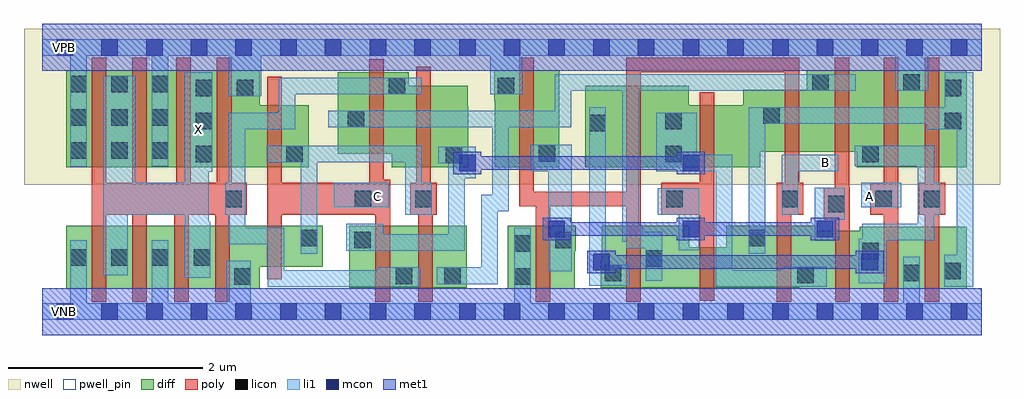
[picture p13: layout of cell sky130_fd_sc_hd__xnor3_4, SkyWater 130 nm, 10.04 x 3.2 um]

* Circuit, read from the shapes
.subckt sky130_fd_sc_hd__xnor3_4 A B C VGND VPB VPWR X
XM1 X n1 VGND VSUBS sky130_fd_pr__nfet_01v8 w=0.65 l=0.15 m=4
XM2 n2 C VGND VSUBS sky130_fd_pr__nfet_01v8 w=0.42 l=0.15
XM3 n1 C n3 VSUBS sky130_fd_pr__nfet_01v8 w=0.64 l=0.15
XM4 n4 n2 n1 VSUBS sky130_fd_pr__nfet_01v8 w=0.64 l=0.15
XM5 n5 B VGND VSUBS sky130_fd_pr__nfet_01v8 w=0.65 l=0.15
XM6 n4 B n6 VSUBS sky130_fd_pr__nfet_01v8 w=0.64 l=0.15
XM7 n7 n5 n4 VSUBS sky130_fd_pr__nfet_01v8 w=0.42 l=0.15
XM8 n3 B n7 VSUBS sky130_fd_pr__nfet_01v8 w=0.64 l=0.15
XM9 n6 n5 n3 VSUBS sky130_fd_pr__nfet_01v8 w=0.6 l=0.15
XM10 VGND A n6 VSUBS sky130_fd_pr__nfet_01v8 w=0.64 l=0.15
XM11 n7 n6 VGND VSUBS sky130_fd_pr__nfet_01v8 w=0.64 l=0.15
XM12 X n1 VPWR VPB sky130_fd_pr__pfet_01v8 w=1 l=0.15 m=4
XM13 n2 C VPWR VPB sky130_fd_pr__pfet_01v8 w=0.64 l=0.15
XM14 n1 C n4 VPB sky130_fd_pr__pfet_01v8 w=0.84 l=0.15
XM15 n3 n2 n1 VPB sky130_fd_pr__pfet_01v8 w=0.84 l=0.15
XM16 n5 B VPWR VPB sky130_fd_pr__pfet_01v8 w=1 l=0.15
XM17 n3 B n6 VPB sky130_fd_pr__pfet_01v8 w=0.84 l=0.15
XM18 n7 n5 n3 VPB sky130_fd_pr__pfet_01v8 w=0.64 l=0.15
XM19 n4 B n7 VPB sky130_fd_pr__pfet_01v8 w=0.64 l=0.15
XM20 n6 n5 n4 VPB sky130_fd_pr__pfet_01v8 w=0.84 l=0.15
XM21 VPWR A n6 VPB sky130_fd_pr__pfet_01v8 w=1 l=0.15
XM22 n7 n6 VPWR VPB sky130_fd_pr__pfet_01v8 w=1 l=0.15
.ends

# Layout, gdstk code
import gdstk
lib = gdstk.Library(unit=1e-6, precision=1e-09)
def R(c, l, rs):  # rectangles x0, y0, x1, y1
    for r in rs: c.add(gdstk.rectangle(r[:2], r[2:], *l))
def A(c, l, x, y, w, h, nx, ny, dx, dy):  # array of equal rectangles
    R(c, l, [(x+i*dx, y+j*dy, x+i*dx+w, y+j*dy+h) for i in range(nx) for j in range(ny)])
def P(c, l, *ps):  # polygons
    for p in ps: c.add(gdstk.Polygon(p, *l))
nwell = (64, 20)
diff = (65, 20)
poly = (66, 20)
licon = (66, 44)
li1 = (67, 20)
mcon = (67, 44)
met1 = (68, 20)
pwell_pin = (122, 16)

sky130_fd_sc_hd__xnor3_4 = lib.new_cell('sky130_fd_sc_hd__xnor3_4')
R(sky130_fd_sc_hd__xnor3_4, nwell, [(-0.19,1.305,9.85,2.91)])
R(sky130_fd_sc_hd__xnor3_4, diff, [(3.155,0.245,4.365,0.885)])
P(sky130_fd_sc_hd__xnor3_4, diff, [(2.74,2.125),(2.235,2.125),(2.235,2.485),(0.245,2.485),(0.245,1.485),(2.74,1.485)],
  [(2.885,0.885),(0.245,0.885),(0.245,0.235),(2.235,0.235),(2.235,0.465),(2.885,0.465)],
  [(4.38,2.115),(4.375,2.115),(4.375,2.325),(3.77,2.325),(3.77,2.465),(3.035,2.465),(3.035,1.625),(3.595,1.625),(3.595,1.485),(4.38,1.485)],
  [(5.315,2.485),(4.645,2.485),(4.645,2.175),(4.65,2.175),(4.65,1.485),(5.315,1.485)],
  [(5.485,0.885),(4.785,0.885),(4.785,0.235),(5.475,0.235),(5.475,0.62),(5.485,0.62)],
  [(9.51,2.485),(7.86,2.485),(7.86,2.285),(7.21,2.285),(7.21,2.125),(6.65,2.125),(6.65,2.325),(5.585,2.325),(5.585,1.485),(7.385,1.485),(7.385,1.645),(8.375,1.645),(8.375,1.485),(9.51,1.485)],
  [(9.51,0.875),(8.405,0.875),(8.405,0.835),(7.955,0.835),(7.955,0.885),(7.035,0.885),(7.035,0.665),(6.655,0.665),(6.655,0.885),(5.755,0.885),(5.755,0.52),(5.745,0.52),(5.745,0.245),(7.79,0.245),(7.79,0.235),(9.51,0.235)])
P(sky130_fd_sc_hd__xnor3_4, poly, [(2.1,1.325),(1.945,1.325),(1.945,2.615),(1.795,2.615),(1.795,1.325),(1.525,1.325),(1.525,2.615),(1.375,2.615),(1.375,1.325),(1.075,1.325),(1.075,2.615),(0.925,2.615),(0.925,1.325),(0.655,1.325),(0.655,2.615),(0.505,2.615),(0.505,0.105),(0.655,0.105),(0.655,0.995),(0.925,0.995),(0.925,0.105),(1.075,0.105),(1.075,0.995),(1.355,0.995),(1.355,0.105),(1.505,0.105),(1.505,0.995),(1.775,0.995),(1.775,0.105),(1.925,0.105),(1.925,0.995),(2.1,0.995)],
  [(3.575,1.355),(3.51,1.355),(3.51,2.595),(3.36,2.595),(3.36,1.325),(2.46,1.325),(2.46,2.415),(2.31,2.415),(2.31,0.335),(2.46,0.335),(2.46,0.995),(3.425,0.995),(3.425,0.105),(3.575,0.105)],
  [(4.055,1.325),(3.995,1.325),(3.995,2.52),(3.845,2.52),(3.845,1.325),(3.785,1.325),(3.785,0.995),(3.865,0.995),(3.865,0.105),(4.015,0.105),(4.015,0.995),(4.055,0.995)],
  [(6.91,2.255),(6.76,2.255),(6.76,1.325),(6.365,1.325),(6.365,0.995),(6.76,0.995),(6.76,0.115),(6.91,0.115)],
  [(7.825,1.325),(7.785,1.325),(7.785,2.615),(6.005,2.615),(6.005,1.235),(5.055,1.235),(5.055,2.615),(4.905,2.615),(4.905,1.085),(5.075,1.085),(5.075,0.105),(5.225,0.105),(5.225,1.085),(6.005,1.085),(6.005,0.105),(6.155,0.105),(6.155,2.465),(7.635,2.465),(7.635,1.325),(7.555,1.325),(7.555,0.105),(7.705,0.105),(7.705,0.995),(7.825,0.995)],
  [(8.305,1.28),(8.3,1.28),(8.3,2.615),(8.15,2.615),(8.15,1.275),(8.035,1.275),(8.035,0.945),(8.155,0.945),(8.155,0.105),(8.305,0.105)],
  [(8.805,2.615),(8.655,2.615),(8.655,1.325),(8.515,1.325),(8.515,0.995),(8.655,0.995),(8.655,0.105),(8.805,0.105)],
  [(9.285,1.325),(9.225,1.325),(9.225,2.615),(9.075,2.615),(9.075,1.325),(9.015,1.325),(9.015,0.995),(9.075,0.995),(9.075,0.105),(9.225,0.105),(9.225,0.995),(9.285,0.995)])
A(sky130_fd_sc_hd__xnor3_4, licon, 0.285, 0.475, 0.17, 0.17, 3, 2, 0.42, 1.1)
A(sky130_fd_sc_hd__xnor3_4, licon, 1.575, 1.535, 0.17, 0.17, 1, 3, 0, 0.34)
A(sky130_fd_sc_hd__xnor3_4, licon, 0.285, 1.915, 0.17, 0.17, 3, 2, 0.42, 0.34)
R(sky130_fd_sc_hd__xnor3_4, licon, [(1.975,0.275,2.145,0.445), (4.855,0.275,5.025,0.445), (3.635,0.285,3.805,0.455), (4.135,0.285,4.305,0.455), (7.765,0.295,7.935,0.465), (5.785,0.315,5.955,0.485), (8.855,0.315,9.025,0.485), (9.275,0.335,9.445,0.505), (6.205,0.46,6.375,0.63), (1.555,0.475,1.725,0.645), (8.435,0.54,8.605,0.71), (4.855,0.615,5.025,0.785), (3.205,0.655,3.375,0.825), (5.275,0.655,5.445,0.825), (2.655,0.675,2.825,0.845), (7.265,0.675,7.435,0.845), (8.085,1.025,8.255,1.195), (1.88,1.075,2.05,1.245), (3.21,1.075,3.38,1.245), (3.835,1.075,4.005,1.245), (6.415,1.075,6.585,1.245), (7.605,1.075,7.775,1.245), (8.565,1.075,8.735,1.245), (9.065,1.075,9.235,1.245), (4.15,1.525,4.32,1.695), (2.51,1.535,2.68,1.705), (6.405,1.535,6.575,1.705), (8.435,1.535,8.605,1.705), (5.105,1.545,5.275,1.715), (5.625,1.855,5.795,2.025), (6.405,1.875,6.575,2.045), (9.28,1.875,9.45,2.045), (3.14,1.895,3.31,2.065), (7.415,1.935,7.585,2.105), (2,2.215,2.17,2.385), (9.28,2.215,9.45,2.385), (3.56,2.235,3.73,2.405), (4.685,2.235,4.855,2.405), (7.92,2.275,8.09,2.445), (8.855,2.275,9.025,2.445)])
R(sky130_fd_sc_hd__xnor3_4, li1, [(2.995,1.075,3.56,1.325), (8.425,1.075,8.835,1.325)])
P(sky130_fd_sc_hd__xnor3_4, li1, [(9.575,2.465),(9.28,2.465),(9.28,2.105),(7.265,2.105),(7.265,0.595),(7.435,0.595),(7.435,1.935),(9.09,1.935),(9.09,1.875),(9.405,1.875),(9.405,0.585),(9.275,0.585),(9.275,0.255),(9.575,0.255)],
  [(1.745,2.465),(1.465,2.465),(1.465,1.325),(0.955,1.325),(0.955,2.425),(0.625,2.425),(0.625,0.375),(0.875,0.375),(0.875,0.995),(1.465,0.995),(1.465,0.35),(1.725,0.35),(1.725,0.925),(1.71,0.925),(1.71,1.44),(1.745,1.44)],
  [(3.9,2.405),(2.43,2.405),(2.43,2.045),(1.915,2.045),(1.915,1.325),(1.88,1.325),(1.88,0.995),(1.91,0.995),(1.91,0.695),(2.315,0.695),(2.315,0.255),(3.885,0.255),(3.885,0.455),(3.45,0.455),(3.45,0.425),(2.485,0.425),(2.485,0.865),(2.085,0.865),(2.085,1.875),(2.6,1.875),(2.6,2.235),(3.9,2.235)],
  [(9.66,0.085),(9.025,0.085),(9.025,0.565),(8.855,0.565),(8.855,0.085),(5.025,0.085),(5.025,0.865),(4.855,0.865),(4.855,0.085),(2.145,0.085),(2.145,0.525),(1.895,0.525),(1.895,0.085),(1.295,0.085),(1.295,0.735),(1.125,0.735),(1.125,0.085),(0.455,0.085),(0.455,0.735),(0.285,0.735),(0.285,0.085),(0,0.085),(0,-0.085),(9.66,-0.085)],
  [(9.66,2.805),(0,2.805),(0,2.635),(0.285,2.635),(0.285,1.49),(0.455,1.49),(0.455,2.635),(1.125,2.635),(1.125,1.495),(1.295,1.495),(1.295,2.635),(1.915,2.635),(1.915,2.215),(2.25,2.215),(2.25,2.635),(4.605,2.635),(4.605,2.235),(4.935,2.235),(4.935,2.635),(8.775,2.635),(8.775,2.275),(9.11,2.275),(9.11,2.635),(9.66,2.635)],
  [(4.005,1.325),(3.9,1.325),(3.9,1.705),(2.315,1.705),(2.315,1.535),(2.655,1.535),(2.655,0.595),(2.825,0.595),(2.825,1.535),(3.73,1.535),(3.73,0.995),(4.005,0.995)],
  [(4.455,1.695),(4.07,1.695),(4.07,1.525),(4.175,1.525),(4.175,0.795),(3.505,0.795),(3.505,0.905),(3.125,0.905),(3.125,0.625),(4.345,0.625),(4.345,1.375),(4.455,1.375)],
  [(5.445,1.715),(5.025,1.715),(5.025,1.445),(5.205,1.445),(5.205,0.415),(5.445,0.415)],
  [(6.035,0.485),(5.835,0.485),(5.835,0.595),(5.795,0.595),(5.795,2.105),(5.625,2.105),(5.625,0.265),(6.035,0.265)],
  [(6.755,1.27),(6.33,1.27),(6.33,0.995),(6.545,0.995),(6.545,0.63),(6.755,0.63)],
  [(8.07,0.465),(7.605,0.465),(7.605,0.425),(7.095,0.425),(7.095,1.615),(6.73,1.615),(6.73,2.045),(6.315,2.045),(6.315,1.445),(6.925,1.445),(6.925,0.255),(8.07,0.255)],
  [(8.185,1.615),(7.605,1.615),(7.605,0.995),(7.775,0.995),(7.775,1.445),(8.185,1.445)],
  [(8.255,1.275),(7.945,1.275),(7.945,0.73),(8.15,0.73),(8.15,0.945),(8.255,0.945)],
  [(8.365,2.445),(5.27,2.445),(5.27,2.065),(2.94,2.065),(2.94,1.895),(4.625,1.895),(4.625,1.205),(4.515,1.205),(4.515,0.455),(4.055,0.455),(4.055,0.285),(4.685,0.285),(4.685,1.035),(4.795,1.035),(4.795,1.895),(5.44,1.895),(5.44,2.275),(5.965,2.275),(5.965,0.72),(6.005,0.72),(6.005,0.655),(6.205,0.655),(6.205,0.32),(6.375,0.32),(6.375,0.825),(6.175,0.825),(6.175,0.89),(6.135,0.89),(6.135,2.275),(8.365,2.275)],
  [(9.235,1.325),(9.175,1.325),(9.175,1.705),(8.355,1.705),(8.355,1.495),(9.005,1.495),(9.005,0.905),(8.435,0.905),(8.435,0.75),(8.395,0.75),(8.395,0.295),(8.685,0.295),(8.685,0.735),(9.175,0.735),(9.175,0.995),(9.235,0.995)])
A(sky130_fd_sc_hd__xnor3_4, mcon, 0.145, -0.085, 0.17, 0.17, 21, 2, 0.46, 2.72)
A(sky130_fd_sc_hd__xnor3_4, mcon, 5.205, 0.765, 0.17, 0.17, 3, 1, 1.38, 0)
R(sky130_fd_sc_hd__xnor3_4, mcon, [(5.665,0.425,5.835,0.595), (8.425,0.425,8.595,0.595), (4.285,1.445,4.455,1.615), (6.585,1.445,6.755,1.615)])
P(sky130_fd_sc_hd__xnor3_4, met1, [(6.815,1.645),(6.525,1.645),(6.525,1.6),(4.515,1.6),(4.515,1.645),(4.225,1.645),(4.225,1.415),(4.515,1.415),(4.515,1.46),(6.525,1.46),(6.525,1.415),(6.815,1.415)],
  [(8.195,0.965),(7.905,0.965),(7.905,0.92),(6.815,0.92),(6.815,0.965),(6.525,0.965),(6.525,0.92),(5.435,0.92),(5.435,0.965),(5.145,0.965),(5.145,0.735),(5.435,0.735),(5.435,0.78),(6.525,0.78),(6.525,0.735),(6.815,0.735),(6.815,0.78),(7.905,0.78),(7.905,0.735),(8.195,0.735)],
  [(8.655,0.625),(8.365,0.625),(8.365,0.58),(5.895,0.58),(5.895,0.625),(5.605,0.625),(5.605,0.395),(5.895,0.395),(5.895,0.44),(8.365,0.44),(8.365,0.395),(8.655,0.395)])
R(sky130_fd_sc_hd__xnor3_4, pwell_pin, [(0.145,-0.085,0.315,0.085)])
sky130_fd_sc_hd__xnor3_4.add(gdstk.FlexPath([(0,2.72),(9.66,2.72)], 0.48, ends="flush", simple_path=True, layer=68, datatype=20))  # met1
sky130_fd_sc_hd__xnor3_4.add(gdstk.FlexPath([(0,0),(9.66,0)], 0.48, ends="flush", simple_path=True, layer=68, datatype=20))  # met1
sky130_fd_sc_hd__xnor3_4.add(gdstk.Label('X', (1.61,1.87), layer=67, texttype=5))
sky130_fd_sc_hd__xnor3_4.add(gdstk.Label('B', (8.05,1.53), layer=67, texttype=5))
sky130_fd_sc_hd__xnor3_4.add(gdstk.Label('C', (3.45,1.19), layer=67, texttype=5))
sky130_fd_sc_hd__xnor3_4.add(gdstk.Label('A', (8.51,1.19), layer=67, texttype=5))
sky130_fd_sc_hd__xnor3_4.add(gdstk.Label('VNB', (0.23,0), layer=122, texttype=16))
sky130_fd_sc_hd__xnor3_4.add(gdstk.Label('VPB', (0.23,2.72), layer=64, texttype=5))
sky130_fd_sc_hd__xnor3_4.add(gdstk.Label('VGND', (0.23,0), layer=68, texttype=5))
sky130_fd_sc_hd__xnor3_4.add(gdstk.Label('VPWR', (0.23,2.72), layer=68, texttype=5))

lib.write_gds('sky130_fd_sc_hd__xnor3_4.gds')
